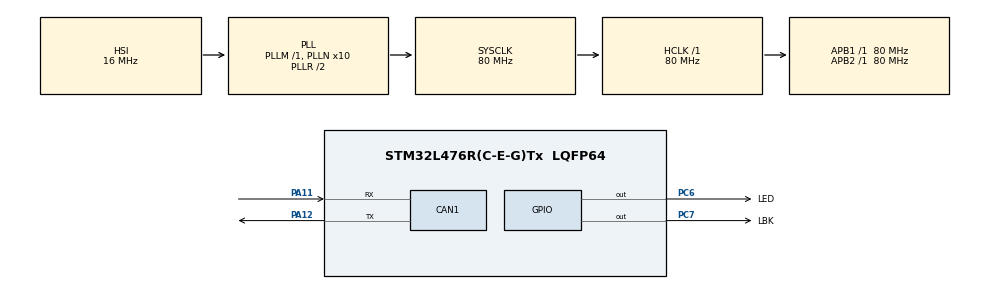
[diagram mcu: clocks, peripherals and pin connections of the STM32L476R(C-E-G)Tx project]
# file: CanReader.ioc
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CAN1.BS1=CAN_BS1_4TQ
CAN1.CalculateTimeQuantum=200.0
Mcu.Family=STM32L4
Mcu.Name=STM32L476R(C-E-G)Tx
Mcu.Package=LQFP64
NVIC.PriorityGroup=NVIC_PRIORITYGROUP_4
PA11.Mode=Master
PA11.Signal=CAN1_RX
PA12.Mode=Master
PA12.Signal=CAN1_TX
PA13\ (JTMS-SWDIO).Mode=JTAG_5_pins
PA13\ (JTMS-SWDIO).Signal=SYS_JTMS-SWDIO
PA14\ (JTCK-SWCLK).Mode=JTAG_5_pins
PA14\ (JTCK-SWCLK).Signal=SYS_JTCK-SWCLK
PA15\ (JTDI).Mode=JTAG_5_pins
PA15\ (JTDI).Signal=SYS_JTDI
PB3\ (JTDO-TRACESWO).Mode=JTAG_5_pins
PB3\ (JTDO-TRACESWO).Signal=SYS_JTDO-SWO
PB4\ (NJTRST).Mode=JTAG_5_pins
PB4\ (NJTRST).Signal=SYS_JTRST
PC14-OSC32_IN\ (PC14).Mode=LSE-External-Oscillator
PC14-OSC32_IN\ (PC14).Signal=RCC_OSC32_IN
PC15-OSC32_OUT\ (PC15).Mode=LSE-External-Oscillator
PC15-OSC32_OUT\ (PC15).Signal=RCC_OSC32_OUT
PC6.GPIO_Label=LED
PC6.Signal=GPIO_Output
PC7.GPIO_Label=LBK
PC7.Signal=GPIO_Output
ProjectManager.HeapSize=0x200
ProjectManager.StackSize=0x400
ProjectManager.TargetToolchain=STM32CubeIDE
RCC.ADCFreq_Value=64000000
RCC.AHBFreq_Value=80000000
RCC.APB1Freq_Value=80000000
RCC.APB1TimFreq_Value=80000000
RCC.APB2Freq_Value=80000000
RCC.APB2TimFreq_Value=80000000
RCC.CortexFreq_Value=80000000
RCC.HCLKFreq_Value=80000000
RCC.HSE_VALUE=8000000
RCC.HSI_VALUE=16000000
RCC.MSI_VALUE=4000000
RCC.PLLN=10
RCC.PLLSourceVirtual=RCC_PLLSOURCE_HSI
RCC.SYSCLKFreq_VALUE=80000000
RCC.SYSCLKSource=RCC_SYSCLKSOURCE_PLLCLK
RCC.USBFreq_Value=64000000
RCC.VCOOutputFreq_Value=160000000
board=custom

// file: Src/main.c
/* USER CODE BEGIN Header */
/**
  ******************************************************************************
  * @file           : main.c
  * @brief          : Main program body
  ******************************************************************************
  * @attention
  *
  * <h2><center>&copy; Copyright (c) 2019 STMicroelectronics.
  * All rights reserved.</center></h2>
  *
  * This software component is licensed by ST under BSD 3-Clause license,
  * the "License"; You may not use this file except in compliance with the
  * License. You may obtain a copy of the License at:
  *                        opensource.org/licenses/BSD-3-Clause
  *
  ******************************************************************************
  */
/* USER CODE END Header */

#include "main.h"

/* USER CODE BEGIN Includes */
#include "INA219.h"
#include "zenith_can_lib.h"
#include <stdlib.h>
#include <stdio.h>
#include <string.h>
/* USER CODE END Includes */

CAN_HandleTypeDef hcan1;

/* USER CODE BEGIN PV */
Z_CAN_Package can_rx_pkg;
Z_CAN_Package can_tx_pkg;

/* USER CODE END PV */

void SystemClock_Config(void);
static void MX_GPIO_Init(void);
static void MX_CAN1_Init(void);

int main(void)
{

  /* MCU Configuration--------------------------------------------------------*/

  /* Reset of all peripherals, Initializes the Flash interface and the Systick. */
  HAL_Init();

  /* Configure the system clock */
  SystemClock_Config();

  /* Initialize all configured peripherals */
  MX_GPIO_Init();
  MX_CAN1_Init();
  /* USER CODE BEGIN 2 */

  // Initializing CAN Filter
  filterConfigCAN(&hcan1);
  HAL_CAN_Start(&hcan1);
  /* USER CODE END 2 */

  /* Infinite loop */
  while (1)
  {

    /* USER CODE BEGIN 3 */
	can_rx_pkg = readCanMessages(&hcan1);

	if(!isEqual(can_rx_pkg, NULL_MSG)){
		if (can_rx_pkg.data[0] == 1){
			HAL_GPIO_WritePin(LED_GPIO_Port, LED_Pin, GPIO_PIN_SET);
		}
		else if (can_rx_pkg.data[1] == 1){
			HAL_GPIO_TogglePin(LED_GPIO_Port, LED_Pin);
		}
		else if(can_rx_pkg.data[2] == 1){
			HAL_GPIO_WritePin(LED_GPIO_Port, LED_Pin, GPIO_PIN_RESET);
		}
	}
	HAL_Delay(1500);
  }
  /* USER CODE END 3 */
}

void SystemClock_Config(void)
{
  RCC_OscInitTypeDef RCC_OscInitStruct = {0};
  RCC_ClkInitTypeDef RCC_ClkInitStruct = {0};

  /** Initializes the CPU, AHB and APB busses clocks
  */
  RCC_OscInitStruct.OscillatorType = RCC_OSCILLATORTYPE_HSI;
  RCC_OscInitStruct.HSIState = RCC_HSI_ON;
  RCC_OscInitStruct.HSICalibrationValue = RCC_HSICALIBRATION_DEFAULT;
  RCC_OscInitStruct.PLL.PLLState = RCC_PLL_ON;
  RCC_OscInitStruct.PLL.PLLSource = RCC_PLLSOURCE_HSI;
  RCC_OscInitStruct.PLL.PLLM = 1;
  RCC_OscInitStruct.PLL.PLLN = 10;
  RCC_OscInitStruct.PLL.PLLP = RCC_PLLP_DIV7;
  RCC_OscInitStruct.PLL.PLLQ = RCC_PLLQ_DIV2;
  RCC_OscInitStruct.PLL.PLLR = RCC_PLLR_DIV2;
  if (HAL_RCC_OscConfig(&RCC_OscInitStruct) != HAL_OK)
  {
    Error_Handler();
  }
  /** Initializes the CPU, AHB and APB busses clocks
  */
  RCC_ClkInitStruct.ClockType = RCC_CLOCKTYPE_HCLK|RCC_CLOCKTYPE_SYSCLK
                              |RCC_CLOCKTYPE_PCLK1|RCC_CLOCKTYPE_PCLK2;
  RCC_ClkInitStruct.SYSCLKSource = RCC_SYSCLKSOURCE_PLLCLK;
  RCC_ClkInitStruct.AHBCLKDivider = RCC_SYSCLK_DIV1;
  RCC_ClkInitStruct.APB1CLKDivider = RCC_HCLK_DIV1;
  RCC_ClkInitStruct.APB2CLKDivider = RCC_HCLK_DIV1;

  if (HAL_RCC_ClockConfig(&RCC_ClkInitStruct, FLASH_LATENCY_4) != HAL_OK)
  {
    Error_Handler();
  }
  /** Configure the main internal regulator output voltage
  */
  if (HAL_PWREx_ControlVoltageScaling(PWR_REGULATOR_VOLTAGE_SCALE1) != HAL_OK)
  {
    Error_Handler();
  }
}

static void MX_CAN1_Init(void)
{

  hcan1.Instance = CAN1;
  hcan1.Init.Prescaler = 16;
  hcan1.Init.Mode = CAN_MODE_NORMAL;
  hcan1.Init.SyncJumpWidth = CAN_SJW_1TQ;
  hcan1.Init.TimeSeg1 = CAN_BS1_4TQ;
  hcan1.Init.TimeSeg2 = CAN_BS2_1TQ;
  hcan1.Init.TimeTriggeredMode = DISABLE;
  hcan1.Init.AutoBusOff = DISABLE;
  hcan1.Init.AutoWakeUp = DISABLE;
  hcan1.Init.AutoRetransmission = DISABLE;
  hcan1.Init.ReceiveFifoLocked = DISABLE;
  hcan1.Init.TransmitFifoPriority = DISABLE;
  if (HAL_CAN_Init(&hcan1) != HAL_OK)
  {
    Error_Handler();
  }

}

static void MX_GPIO_Init(void)
{
  GPIO_InitTypeDef GPIO_InitStruct = {0};

  /* GPIO Ports Clock Enable */
  __HAL_RCC_GPIOC_CLK_ENABLE();
  __HAL_RCC_GPIOA_CLK_ENABLE();
  __HAL_RCC_GPIOB_CLK_ENABLE();

  /*Configure GPIO pin Output Level */
  HAL_GPIO_WritePin(GPIOC, LED_Pin|LBK_Pin, GPIO_PIN_RESET);

  /*Configure GPIO pins : LED_Pin LBK_Pin */
  GPIO_InitStruct.Pin = LED_Pin|LBK_Pin;
  GPIO_InitStruct.Mode = GPIO_MODE_OUTPUT_PP;
  GPIO_InitStruct.Pull = GPIO_NOPULL;
  GPIO_InitStruct.Speed = GPIO_SPEED_FREQ_LOW;
  HAL_GPIO_Init(GPIOC, &GPIO_InitStruct);

}

void Error_Handler(void)
{
}

/************************ (C) COPYRIGHT STMicroelectronics *****END OF FILE****/
